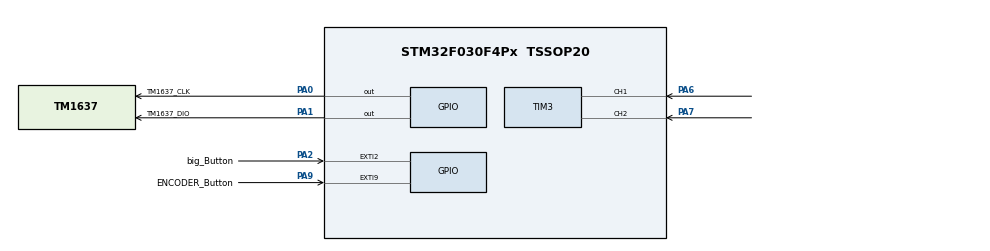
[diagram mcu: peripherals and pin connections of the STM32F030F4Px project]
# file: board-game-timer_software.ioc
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Mcu.Family=STM32F0
Mcu.Name=STM32F030F4Px
Mcu.Package=TSSOP20
NVIC.EXTI2_3_IRQn=true\:0\:0\:false\:false\:true\:true\:true\:true
NVIC.EXTI4_15_IRQn=true\:0\:0\:false\:false\:true\:true\:true\:true
NVIC.TIM14_IRQn=true\:0\:0\:false\:false\:true\:true\:true\:true
NVIC.TIM3_IRQn=true\:0\:0\:false\:false\:true\:true\:true\:true
PA0.GPIO_Label=TM1637_CLK
PA0.Signal=GPIO_Output
PA1.GPIO_Label=TM1637_DIO
PA1.Signal=GPIO_Output
PA13.Mode=Serial_Wire
PA13.Signal=SYS_SWDIO
PA14.Mode=Serial_Wire
PA14.Signal=SYS_SWCLK
PA2.GPIO_Label=big_Button
PA2.GPIO_PuPd=GPIO_PULLUP
PA2.Signal=GPXTI2
PA6.Signal=S_TIM3_CH1
PA7.Signal=S_TIM3_CH2
PA9.GPIO_Label=ENCODER_Button
PA9.GPIO_PuPd=GPIO_PULLUP
PA9.Signal=GPXTI9
ProjectManager.HeapSize=0x200
ProjectManager.StackSize=0x400
ProjectManager.TargetToolchain=STM32CubeIDE
SH.S_TIM3_CH1.0=TIM3_CH1,Encoder_Interface
SH.S_TIM3_CH2.0=TIM3_CH2,Encoder_Interface
TIM14.Period=999
TIM14.Prescaler=7999
TIM3.EncoderMode=TIM_ENCODERMODE_TI12
VP_TIM14_VS_ClockSourceINT.Mode=Enable_Timer
board=custom

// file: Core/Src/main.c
/* USER CODE BEGIN Header */
/**
  ******************************************************************************
  * @file           : main.c
  * @brief          : Main program body
  ******************************************************************************
  * @attention
  *
  * Copyright (c) 2026 STMicroelectronics.
  * All rights reserved.
  *
  * This software is licensed under terms that can be found in the LICENSE file
  * in the root directory of this software component.
  * If no LICENSE file comes with this software, it is provided AS-IS.
  *
  ******************************************************************************
  */
/* USER CODE END Header */
#include "main.h"
#include "tim.h"
#include "gpio.h"

/* USER CODE BEGIN Includes */
#include <stdio.h>
#include "TM1637.h"
/* USER CODE END Includes */

/* USER CODE BEGIN PTD */
tm1637_t tm1637 = {
    .clk_port = TM1637_CLK_GPIO_Port,
    .dio_port = TM1637_DIO_GPIO_Port,
    .clk_pin  = TM1637_CLK_Pin,
    .dio_pin  = TM1637_DIO_Pin,
    .brightness = 2,
	.colon_on = 1
};

typedef enum state {
	RUNNING, PAUSED
} state_t;

state_t current_state = PAUSED;
/* USER CODE END PTD */

/* USER CODE BEGIN PV */
uint16_t current_seconds, set_seconds = 0;
int16_t current_encoder_pos, last_encoder_pos = 0, encoder_difference, accum = 0;

// Flags
volatile uint8_t is_tm1637_on = 1;
volatile uint8_t update_flag = 0;
volatile uint8_t blink_flag = 0;
volatile uint8_t encoder_btn_flag = 0;
volatile uint8_t big_btn_flag = 0;
/* USER CODE END PV */

void SystemClock_Config(void);

/* USER CODE BEGIN 0 */
void set_time(int8_t steps)
{
	set_seconds += steps * 5;
	if (set_seconds < 0) set_seconds = 0;

	current_seconds = set_seconds;
	tm1637_update_time(&tm1637, set_seconds);
}
/* USER CODE END 0 */

int main(void)
{

  /* MCU Configuration--------------------------------------------------------*/

  /* Reset of all peripherals, Initializes the Flash interface and the Systick. */
  HAL_Init();

  /* Configure the system clock */
  SystemClock_Config();

  /* Initialize all configured peripherals */
  MX_GPIO_Init();
  MX_TIM14_Init();
  MX_TIM3_Init();
  /* USER CODE BEGIN 2 */
 // encoder_init(&encoder);
  tm1637_init(&tm1637, 0);
  HAL_TIM_Encoder_Start(&htim3, TIM_CHANNEL_ALL);
  /* USER CODE END 2 */

  /* Infinite loop */
  while (1)
  {

    /* USER CODE BEGIN 3 */
    if (encoder_btn_flag) {
      encoder_btn_flag = 0;
      is_tm1637_on = 1;
	  HAL_TIM_Base_Stop_IT(&htim14);
	  if (current_state == RUNNING) {
	    current_state = PAUSED;
	    last_encoder_pos = (int16_t)__HAL_TIM_GET_COUNTER(&htim3);
	    accum = 0;

	  } else {
		HAL_TIM_Base_Start_IT(&htim14);
	  	current_state = RUNNING;
	  	tm1637_on(&tm1637, 2);
	  }
	} else if (big_btn_flag) {
	  big_btn_flag = 0;
	  HAL_TIM_Base_Stop_IT(&htim14);
	  current_seconds = set_seconds;
	  tm1637_on(&tm1637, 2);
	  tm1637_update_time(&tm1637, current_seconds);
	  HAL_TIM_Base_Start_IT(&htim14);
	  current_state = RUNNING;
	}

    if (current_state == RUNNING && update_flag) {
	  update_flag = 0;
	  if (current_seconds) current_seconds--;
	  tm1637_update_time(&tm1637, current_seconds);
	}

	if (current_state == PAUSED && blink_flag) {
	  blink_flag = 0;
	  if (is_tm1637_on == 0) {
	    is_tm1637_on = 1;
	    tm1637_update_time(&tm1637, current_seconds);
	    tm1637_on(&tm1637, 2);
	  } else {
	  	is_tm1637_on = 0;
	  	tm1637_off(&tm1637);
	  }
	}

	if (current_state == PAUSED) {
	  current_encoder_pos = (int16_t)__HAL_TIM_GET_COUNTER(&htim3);
	  encoder_difference = current_encoder_pos - last_encoder_pos;
	  last_encoder_pos = current_encoder_pos;
	  // Check for spike, strange behavior
	  if (encoder_difference > 50 || encoder_difference < -50)
		  encoder_difference = 0;
	    accum += encoder_difference;
	    while (accum >= 2)
	    {
	        set_time(+1);   // +5 seconds
	        accum -= 2;
	    }
	    while (accum <= -2)
	    {
	    	if (current_seconds > 4) {
	        set_time(-1);   // -5 seconds
	    	}
	    	accum += 2;
	    }
	}
  }
  /* USER CODE END 3 */
}

void SystemClock_Config(void)
{
  RCC_OscInitTypeDef RCC_OscInitStruct = {0};
  RCC_ClkInitTypeDef RCC_ClkInitStruct = {0};

  /** Initializes the RCC Oscillators according to the specified parameters
  * in the RCC_OscInitTypeDef structure.
  */
  RCC_OscInitStruct.OscillatorType = RCC_OSCILLATORTYPE_HSI;
  RCC_OscInitStruct.HSIState = RCC_HSI_ON;
  RCC_OscInitStruct.HSICalibrationValue = RCC_HSICALIBRATION_DEFAULT;
  RCC_OscInitStruct.PLL.PLLState = RCC_PLL_NONE;
  if (HAL_RCC_OscConfig(&RCC_OscInitStruct) != HAL_OK)
  {
    Error_Handler();
  }

  /** Initializes the CPU, AHB and APB buses clocks
  */
  RCC_ClkInitStruct.ClockType = RCC_CLOCKTYPE_HCLK|RCC_CLOCKTYPE_SYSCLK
                              |RCC_CLOCKTYPE_PCLK1;
  RCC_ClkInitStruct.SYSCLKSource = RCC_SYSCLKSOURCE_HSI;
  RCC_ClkInitStruct.AHBCLKDivider = RCC_SYSCLK_DIV1;
  RCC_ClkInitStruct.APB1CLKDivider = RCC_HCLK_DIV1;

  if (HAL_RCC_ClockConfig(&RCC_ClkInitStruct, FLASH_LATENCY_0) != HAL_OK)
  {
    Error_Handler();
  }
}

/* USER CODE BEGIN 4 */
void HAL_GPIO_EXTI_Callback(uint16_t gpio_pin)
{
  if (gpio_pin == ENCODER_Button_Pin) encoder_btn_flag = 1;
  if (gpio_pin == big_Button_Pin) big_btn_flag = 1;
}

void HAL_TIM_PeriodElapsedCallback(TIM_HandleTypeDef *htim)
{
  if (htim->Instance == TIM14) update_flag = 1;
  //if (htim->Instance == TIM16) blink_flag = 1;
}

/* USER CODE END 4 */

void Error_Handler(void)
{
  __disable_irq();
  while (1)
  {
  }
}
